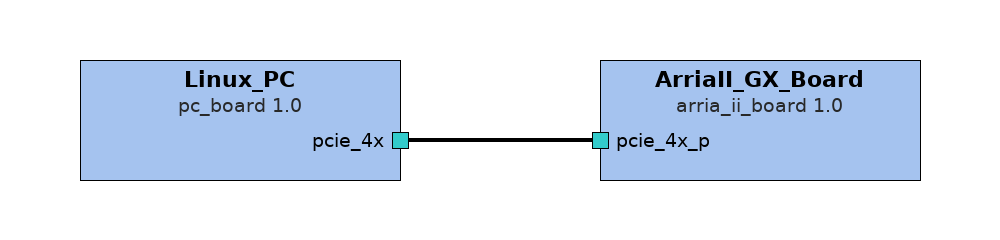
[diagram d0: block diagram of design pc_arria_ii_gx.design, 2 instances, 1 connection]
<?xml version="1.0" encoding="UTF-8"?>
<!-- Created by Kactus 2 document generator 13:36:17 ke marras 9 2011 -->
<spirit:design><spirit:vendor>TUT</spirit:vendor><spirit:library>product</spirit:library><spirit:name>pc_arria_ii_gx.design</spirit:name><spirit:version>1.0</spirit:version><spirit:componentInstances>
 <spirit:componentInstance><spirit:instanceName>ArriaII_GX_Board</spirit:instanceName><spirit:componentRef spirit:vendor="TUT" spirit:library="board" spirit:name="arria_ii_board" spirit:version="1.0"/></spirit:componentInstance>
 <spirit:componentInstance><spirit:instanceName>Linux_PC</spirit:instanceName><spirit:componentRef spirit:vendor="TUT" spirit:library="board" spirit:name="pc_board" spirit:version="1.0"/></spirit:componentInstance>
</spirit:componentInstances>
 <spirit:interconnections><spirit:interconnection><spirit:name>arria_ii_gx_board_pcie_4x_p_to_pc_board_1_pcie_4x</spirit:name><spirit:activeInterface spirit:componentRef="ArriaII_GX_Board" spirit:busRef="pcie_4x_p"/><spirit:activeInterface spirit:componentRef="Linux_PC" spirit:busRef="pcie_4x"/></spirit:interconnection></spirit:interconnections>
</spirit:design>

